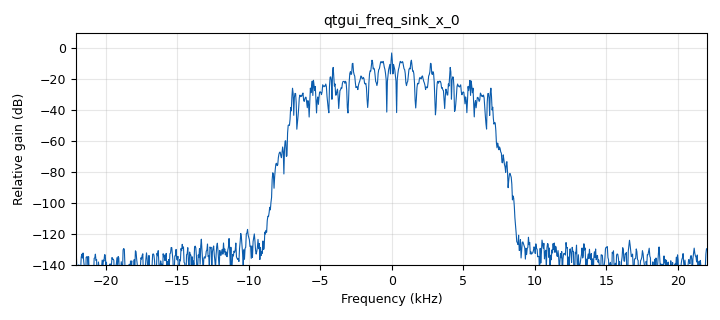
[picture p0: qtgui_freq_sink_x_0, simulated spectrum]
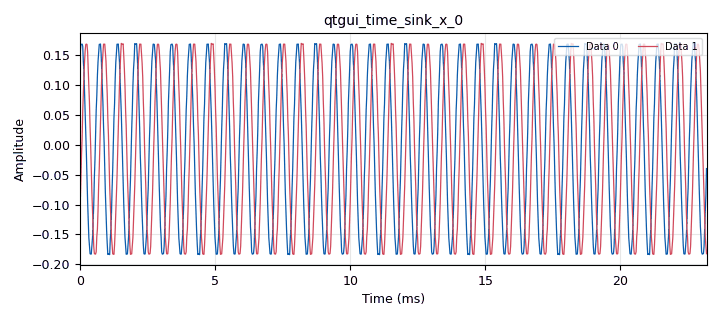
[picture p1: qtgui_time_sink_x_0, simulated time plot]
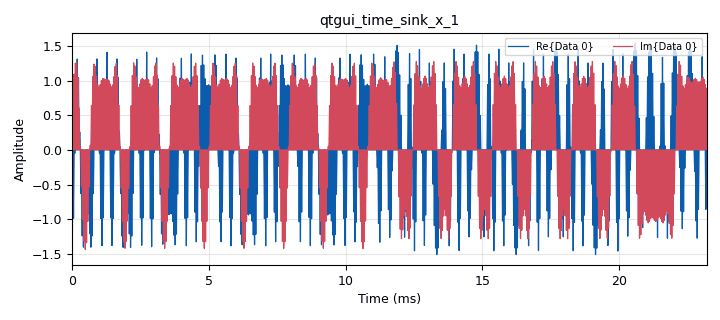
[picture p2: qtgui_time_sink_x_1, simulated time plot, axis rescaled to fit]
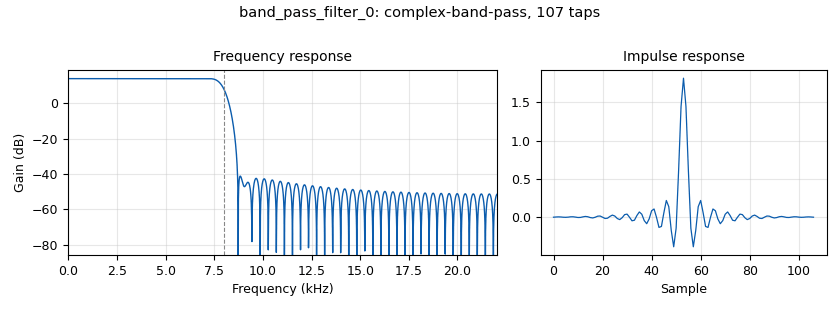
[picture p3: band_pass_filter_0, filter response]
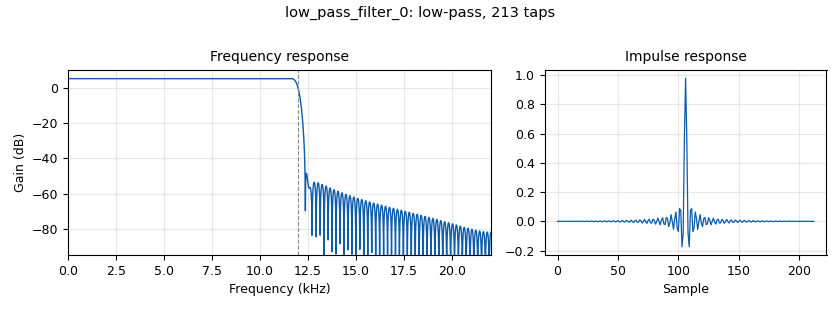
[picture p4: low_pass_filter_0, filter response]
<?xml version='1.0' encoding='utf-8'?>
<?grc format='1' created='3.7.9'?>
<flow_graph>
<block>
<key>options</key>
<param><key>id</key><value>top_block</value></param>
<param><key>category</key><value>Custom</value></param>
<param><key>generate_options</key><value>qt_gui</value></param>
</block>
<block>
<key>variable_qtgui_range</key>
<param><key>id</key><value>N0</value></param>
<param><key>value</key><value>.005</value></param>
<param><key>label</key><value>Noise Voltage</value></param>
<param><key>orient</key><value>Qt.Horizontal</value></param>
<param><key>start</key><value>0</value></param>
<param><key>step</key><value>.001</value></param>
<param><key>stop</key><value>5</value></param>
</block>
<block>
<key>variable</key>
<param><key>id</key><value>samp_rate</value></param>
<param><key>value</key><value>44100</value></param>
</block>
<block>
<key>analog_pwr_squelch_xx</key>
<param><key>id</key><value>analog_pwr_squelch_xx_0</value></param>
<param><key>alpha</key><value>1e-4</value></param>
<param><key>gate</key><value>False</value></param>
<param><key>ramp</key><value>1</value></param>
<param><key>threshold</key><value>-60</value></param>
<param><key>type</key><value>float</value></param>
</block>
<block>
<key>analog_pwr_squelch_xx</key>
<param><key>id</key><value>analog_pwr_squelch_xx_0_0</value></param>
<param><key>alpha</key><value>1e-4</value></param>
<param><key>gate</key><value>False</value></param>
<param><key>ramp</key><value>1</value></param>
<param><key>threshold</key><value>-60</value></param>
<param><key>type</key><value>float</value></param>
</block>
<block>
<key>analog_sig_source_x</key>
<param><key>id</key><value>analog_sig_source_x_0</value></param>
<param><key>amp</key><value>.1</value></param>
<param><key>freq</key><value>1500</value></param>
<param><key>offset</key><value>0</value></param>
<param><key>type</key><value>complex</value></param>
<param><key>samp_rate</key><value>samp_rate</value></param>
<param><key>waveform</key><value>analog.GR_COS_WAVE</value></param>
</block>
<block>
<key>audio_source</key>
<param><key>id</key><value>audio_source_0</value></param>
<param><key>device_name</key><value>pulse_monitor</value></param>
<param><key>_enabled</key><value>0</value></param>
<param><key>num_outputs</key><value>2</value></param>
<param><key>samp_rate</key><value>samp_rate</value></param>
</block>
<block>
<key>band_pass_filter</key>
<param><key>id</key><value>band_pass_filter_0</value></param>
<param><key>decim</key><value>1</value></param>
<param><key>type</key><value>fir_filter_ccc</value></param>
<param><key>gain</key><value>5</value></param>
<param><key>high_cutoff_freq</key><value>8000</value></param>
<param><key>low_cutoff_freq</key><value>-8000</value></param>
<param><key>samp_rate</key><value>samp_rate</value></param>
<param><key>width</key><value>1000</value></param>
<param><key>win</key><value>firdes.WIN_HAMMING</value></param>
</block>
<block>
<key>band_pass_filter</key>
<param><key>id</key><value>band_pass_filter_0_0</value></param>
<param><key>decim</key><value>1</value></param>
<param><key>type</key><value>fir_filter_ccc</value></param>
<param><key>gain</key><value>5</value></param>
<param><key>high_cutoff_freq</key><value>8000</value></param>
<param><key>low_cutoff_freq</key><value>-8000</value></param>
<param><key>samp_rate</key><value>samp_rate</value></param>
<param><key>width</key><value>1000</value></param>
<param><key>win</key><value>firdes.WIN_HAMMING</value></param>
</block>
<block>
<key>blocks_char_to_short</key>
<param><key>id</key><value>blocks_char_to_short_0</value></param>
</block>
<block>
<key>blocks_char_to_short</key>
<param><key>id</key><value>blocks_char_to_short_0_0</value></param>
</block>
<block>
<key>blocks_complex_to_float</key>
<param><key>id</key><value>blocks_complex_to_float_0</value></param>
</block>
<block>
<key>blocks_deinterleave</key>
<param><key>id</key><value>blocks_deinterleave_0</value></param>
<param><key>type</key><value>complex</value></param>
</block>
<block>
<key>blocks_float_to_short</key>
<param><key>id</key><value>blocks_float_to_short_0</value></param>
<param><key>scale</key><value>2**15 - 1</value></param>
</block>
<block>
<key>blocks_float_to_short</key>
<param><key>id</key><value>blocks_float_to_short_0_0</value></param>
<param><key>scale</key><value>2**15 - 1</value></param>
</block>
<block>
<key>blocks_interleave</key>
<param><key>id</key><value>blocks_interleave_0</value></param>
<param><key>type</key><value>complex</value></param>
</block>
<block>
<key>blocks_multiply_const_vxx</key>
<param><key>id</key><value>blocks_multiply_const_vxx_0</value></param>
<param><key>const</key><value>1j</value></param>
<param><key>type</key><value>complex</value></param>
</block>
<block>
<key>blocks_multiply_const_vxx</key>
<param><key>id</key><value>blocks_multiply_const_vxx_0_0</value></param>
<param><key>const</key><value>-1j</value></param>
<param><key>type</key><value>complex</value></param>
</block>
<block>
<key>blocks_null_sink</key>
<param><key>id</key><value>blocks_null_sink_0</value></param>
<param><key>bus_conns</key><value>[[0,],]</value></param>
<param><key>_enabled</key><value>0</value></param>
<param><key>type</key><value>float</value></param>
</block>
<block>
<key>blocks_pack_k_bits_bb</key>
<param><key>id</key><value>blocks_pack_k_bits_bb_0</value></param>
<param><key>k</key><value>8</value></param>
</block>
<block>
<key>blocks_pack_k_bits_bb</key>
<param><key>id</key><value>blocks_pack_k_bits_bb_0_0</value></param>
<param><key>k</key><value>8</value></param>
</block>
<block>
<key>blocks_short_to_char</key>
<param><key>id</key><value>blocks_short_to_char_0</value></param>
</block>
<block>
<key>blocks_short_to_char</key>
<param><key>id</key><value>blocks_short_to_char_0_0</value></param>
</block>
<block>
<key>blocks_short_to_float</key>
<param><key>id</key><value>blocks_short_to_float_0</value></param>
<param><key>scale</key><value>2**15 -1</value></param>
</block>
<block>
<key>blocks_short_to_float</key>
<param><key>id</key><value>blocks_short_to_float_0_0</value></param>
<param><key>scale</key><value>2**15 -1</value></param>
</block>
<block>
<key>blocks_wavfile_sink</key>
<param><key>id</key><value>blocks_wavfile_sink_0</value></param>
<param><key>bits_per_sample</key><value>8</value></param>
<param><key>_enabled</key><value>0</value></param>
<param><key>file</key><value>/home/sam/Documents/GNU_RADIO/graphs/audioTest.wav</value></param>
<param><key>nchan</key><value>2</value></param>
<param><key>samp_rate</key><value>samp_rate</value></param>
</block>
<block>
<key>channels_channel_model</key>
<param><key>id</key><value>channels_channel_model_0</value></param>
<param><key>epsilon</key><value>1.0</value></param>
<param><key>freq_offset</key><value>0.0</value></param>
<param><key>noise_voltage</key><value>N0</value></param>
<param><key>seed</key><value>0</value></param>
<param><key>taps</key><value>1.0 </value></param>
</block>
<block>
<key>channels_quantizer</key>
<param><key>id</key><value>channels_quantizer_0</value></param>
<param><key>bits</key><value>16</value></param>
<param><key>_enabled</key><value>0</value></param>
</block>
<block>
<key>digital_dxpsk_demod</key>
<param><key>id</key><value>digital_dxpsk_demod_0</value></param>
<param><key>excess_bw</key><value>0.35</value></param>
<param><key>freq_bw</key><value>6.28/100.0</value></param>
<param><key>mod_code</key><value>"gray"</value></param>
<param><key>log</key><value>False</value></param>
<param><key>phase_bw</key><value>6.28/100.0</value></param>
<param><key>samples_per_symbol</key><value>4</value></param>
<param><key>sync_out</key><value>False</value></param>
<param><key>timing_bw</key><value>6.28/100.0</value></param>
<param><key>type</key><value>dbpsk</value></param>
<param><key>verbose</key><value>False</value></param>
</block>
<block>
<key>digital_dxpsk_demod</key>
<param><key>id</key><value>digital_dxpsk_demod_0_0</value></param>
<param><key>excess_bw</key><value>0.35</value></param>
<param><key>freq_bw</key><value>6.28/100.0</value></param>
<param><key>mod_code</key><value>"gray"</value></param>
<param><key>log</key><value>False</value></param>
<param><key>phase_bw</key><value>6.28/100.0</value></param>
<param><key>samples_per_symbol</key><value>4</value></param>
<param><key>sync_out</key><value>False</value></param>
<param><key>timing_bw</key><value>6.28/100.0</value></param>
<param><key>type</key><value>dbpsk</value></param>
<param><key>verbose</key><value>False</value></param>
</block>
<block>
<key>digital_dxpsk_mod</key>
<param><key>id</key><value>digital_dxpsk_mod_0</value></param>
<param><key>excess_bw</key><value>0.35</value></param>
<param><key>mod_code</key><value>"gray"</value></param>
<param><key>log</key><value>False</value></param>
<param><key>samples_per_symbol</key><value>4</value></param>
<param><key>type</key><value>dbpsk</value></param>
<param><key>verbose</key><value>False</value></param>
</block>
<block>
<key>digital_dxpsk_mod</key>
<param><key>id</key><value>digital_dxpsk_mod_0_0</value></param>
<param><key>excess_bw</key><value>0.35</value></param>
<param><key>mod_code</key><value>"gray"</value></param>
<param><key>log</key><value>False</value></param>
<param><key>samples_per_symbol</key><value>4</value></param>
<param><key>type</key><value>dbpsk</value></param>
<param><key>verbose</key><value>False</value></param>
</block>
<block>
<key>low_pass_filter</key>
<param><key>id</key><value>low_pass_filter_0</value></param>
<param><key>cutoff_freq</key><value>12000</value></param>
<param><key>decim</key><value>12</value></param>
<param><key>type</key><value>fir_filter_fff</value></param>
<param><key>gain</key><value>.15*12</value></param>
<param><key>samp_rate</key><value>samp_rate</value></param>
<param><key>width</key><value>500</value></param>
<param><key>win</key><value>firdes.WIN_HAMMING</value></param>
</block>
<block>
<key>low_pass_filter</key>
<param><key>id</key><value>low_pass_filter_0_0</value></param>
<param><key>cutoff_freq</key><value>12000</value></param>
<param><key>decim</key><value>12</value></param>
<param><key>type</key><value>fir_filter_fff</value></param>
<param><key>gain</key><value>.15*12</value></param>
<param><key>samp_rate</key><value>samp_rate</value></param>
<param><key>width</key><value>500</value></param>
<param><key>win</key><value>firdes.WIN_HAMMING</value></param>
</block>
<block>
<key>qtgui_const_sink_x</key>
<param><key>id</key><value>qtgui_const_sink_x_0</value></param>
<param><key>_enabled</key><value>0</value></param>
<param><key>size</key><value>1024</value></param>
<param><key>type</key><value>complex</value></param>
</block>
<block>
<key>qtgui_freq_sink_x</key>
<param><key>id</key><value>qtgui_freq_sink_x_0</value></param>
<param><key>bw</key><value>samp_rate</value></param>
<param><key>fc</key><value>0</value></param>
<param><key>fftsize</key><value>1024</value></param>
<param><key>showports</key><value>True</value></param>
<param><key>type</key><value>complex</value></param>
<param><key>wintype</key><value>firdes.WIN_BLACKMAN_hARRIS</value></param>
</block>
<block>
<key>qtgui_time_sink_x</key>
<param><key>id</key><value>qtgui_time_sink_x_0</value></param>
<param><key>autoscale</key><value>True</value></param>
<param><key>color1</key><value>"blue"</value></param>
<param><key>label1</key><value></value></param>
<param><key>color2</key><value>"red"</value></param>
<param><key>label2</key><value></value></param>
<param><key>nconnections</key><value>2</value></param>
<param><key>size</key><value>1024</value></param>
<param><key>srate</key><value>samp_rate</value></param>
<param><key>type</key><value>float</value></param>
</block>
<block>
<key>qtgui_time_sink_x</key>
<param><key>id</key><value>qtgui_time_sink_x_1</value></param>
<param><key>color1</key><value>"blue"</value></param>
<param><key>label1</key><value></value></param>
<param><key>color2</key><value>"red"</value></param>
<param><key>label2</key><value></value></param>
<param><key>size</key><value>1024</value></param>
<param><key>srate</key><value>samp_rate</value></param>
<param><key>type</key><value>complex</value></param>
</block>
<block>
<key>rational_resampler_xxx</key>
<param><key>id</key><value>rational_resampler_xxx_0</value></param>
<param><key>decim</key><value>1</value></param>
<param><key>interp</key><value>12</value></param>
<param><key>taps</key><value></value></param>
<param><key>type</key><value>fff</value></param>
</block>
<block>
<key>rational_resampler_xxx</key>
<param><key>id</key><value>rational_resampler_xxx_0_0</value></param>
<param><key>decim</key><value>1</value></param>
<param><key>interp</key><value>12</value></param>
<param><key>taps</key><value></value></param>
<param><key>type</key><value>fff</value></param>
</block>
<connection><source_block_id>analog_pwr_squelch_xx_0</source_block_id><sink_block_id>rational_resampler_xxx_0_0</sink_block_id><source_key>0</source_key><sink_key>0</sink_key></connection>
<connection><source_block_id>analog_pwr_squelch_xx_0_0</source_block_id><sink_block_id>rational_resampler_xxx_0</sink_block_id><source_key>0</source_key><sink_key>0</sink_key></connection>
<connection><source_block_id>analog_sig_source_x_0</source_block_id><sink_block_id>blocks_complex_to_float_0</sink_block_id><source_key>0</source_key><sink_key>0</sink_key></connection>
<connection><source_block_id>audio_source_0</source_block_id><sink_block_id>analog_pwr_squelch_xx_0_0</sink_block_id><source_key>0</source_key><sink_key>0</sink_key></connection>
<connection><source_block_id>audio_source_0</source_block_id><sink_block_id>analog_pwr_squelch_xx_0</sink_block_id><source_key>1</source_key><sink_key>0</sink_key></connection>
<connection><source_block_id>band_pass_filter_0</source_block_id><sink_block_id>digital_dxpsk_demod_0</sink_block_id><source_key>0</source_key><sink_key>0</sink_key></connection>
<connection><source_block_id>band_pass_filter_0</source_block_id><sink_block_id>qtgui_freq_sink_x_0</sink_block_id><source_key>0</source_key><sink_key>0</sink_key></connection>
<connection><source_block_id>band_pass_filter_0_0</source_block_id><sink_block_id>digital_dxpsk_demod_0_0</sink_block_id><source_key>0</source_key><sink_key>0</sink_key></connection>
<connection><source_block_id>blocks_char_to_short_0</source_block_id><sink_block_id>blocks_short_to_float_0</sink_block_id><source_key>0</source_key><sink_key>0</sink_key></connection>
<connection><source_block_id>blocks_char_to_short_0_0</source_block_id><sink_block_id>blocks_short_to_float_0_0</sink_block_id><source_key>0</source_key><sink_key>0</sink_key></connection>
<connection><source_block_id>blocks_complex_to_float_0</source_block_id><sink_block_id>analog_pwr_squelch_xx_0</sink_block_id><source_key>1</source_key><sink_key>0</sink_key></connection>
<connection><source_block_id>blocks_complex_to_float_0</source_block_id><sink_block_id>analog_pwr_squelch_xx_0_0</sink_block_id><source_key>0</source_key><sink_key>0</sink_key></connection>
<connection><source_block_id>blocks_deinterleave_0</source_block_id><sink_block_id>blocks_multiply_const_vxx_0_0</sink_block_id><source_key>0</source_key><sink_key>0</sink_key></connection>
<connection><source_block_id>blocks_deinterleave_0</source_block_id><sink_block_id>band_pass_filter_0</sink_block_id><source_key>1</source_key><sink_key>0</sink_key></connection>
<connection><source_block_id>blocks_float_to_short_0</source_block_id><sink_block_id>blocks_short_to_char_0</sink_block_id><source_key>0</source_key><sink_key>0</sink_key></connection>
<connection><source_block_id>blocks_float_to_short_0_0</source_block_id><sink_block_id>blocks_short_to_char_0_0</sink_block_id><source_key>0</source_key><sink_key>0</sink_key></connection>
<connection><source_block_id>blocks_interleave_0</source_block_id><sink_block_id>channels_channel_model_0</sink_block_id><source_key>0</source_key><sink_key>0</sink_key></connection>
<connection><source_block_id>blocks_interleave_0</source_block_id><sink_block_id>qtgui_const_sink_x_0</sink_block_id><source_key>0</source_key><sink_key>0</sink_key></connection>
<connection><source_block_id>blocks_interleave_0</source_block_id><sink_block_id>qtgui_time_sink_x_1</sink_block_id><source_key>0</source_key><sink_key>0</sink_key></connection>
<connection><source_block_id>blocks_multiply_const_vxx_0</source_block_id><sink_block_id>blocks_interleave_0</sink_block_id><source_key>0</source_key><sink_key>1</sink_key></connection>
<connection><source_block_id>blocks_multiply_const_vxx_0_0</source_block_id><sink_block_id>band_pass_filter_0_0</sink_block_id><source_key>0</source_key><sink_key>0</sink_key></connection>
<connection><source_block_id>blocks_pack_k_bits_bb_0</source_block_id><sink_block_id>blocks_char_to_short_0</sink_block_id><source_key>0</source_key><sink_key>0</sink_key></connection>
<connection><source_block_id>blocks_pack_k_bits_bb_0_0</source_block_id><sink_block_id>blocks_char_to_short_0_0</sink_block_id><source_key>0</source_key><sink_key>0</sink_key></connection>
<connection><source_block_id>blocks_short_to_char_0</source_block_id><sink_block_id>digital_dxpsk_mod_0</sink_block_id><source_key>0</source_key><sink_key>0</sink_key></connection>
<connection><source_block_id>blocks_short_to_char_0_0</source_block_id><sink_block_id>digital_dxpsk_mod_0_0</sink_block_id><source_key>0</source_key><sink_key>0</sink_key></connection>
<connection><source_block_id>blocks_short_to_float_0</source_block_id><sink_block_id>low_pass_filter_0</sink_block_id><source_key>0</source_key><sink_key>0</sink_key></connection>
<connection><source_block_id>blocks_short_to_float_0_0</source_block_id><sink_block_id>low_pass_filter_0_0</sink_block_id><source_key>0</source_key><sink_key>0</sink_key></connection>
<connection><source_block_id>channels_channel_model_0</source_block_id><sink_block_id>blocks_deinterleave_0</sink_block_id><source_key>0</source_key><sink_key>0</sink_key></connection>
<connection><source_block_id>digital_dxpsk_demod_0</source_block_id><sink_block_id>blocks_pack_k_bits_bb_0</sink_block_id><source_key>0</source_key><sink_key>0</sink_key></connection>
<connection><source_block_id>digital_dxpsk_demod_0_0</source_block_id><sink_block_id>blocks_pack_k_bits_bb_0_0</sink_block_id><source_key>0</source_key><sink_key>0</sink_key></connection>
<connection><source_block_id>digital_dxpsk_mod_0</source_block_id><sink_block_id>blocks_interleave_0</sink_block_id><source_key>0</source_key><sink_key>0</sink_key></connection>
<connection><source_block_id>digital_dxpsk_mod_0_0</source_block_id><sink_block_id>blocks_multiply_const_vxx_0</sink_block_id><source_key>0</source_key><sink_key>0</sink_key></connection>
<connection><source_block_id>low_pass_filter_0</source_block_id><sink_block_id>blocks_null_sink_0</sink_block_id><source_key>0</source_key><sink_key>0</sink_key></connection>
<connection><source_block_id>low_pass_filter_0</source_block_id><sink_block_id>blocks_wavfile_sink_0</sink_block_id><source_key>0</source_key><sink_key>1</sink_key></connection>
<connection><source_block_id>low_pass_filter_0</source_block_id><sink_block_id>qtgui_time_sink_x_0</sink_block_id><source_key>0</source_key><sink_key>0</sink_key></connection>
<connection><source_block_id>low_pass_filter_0_0</source_block_id><sink_block_id>blocks_wavfile_sink_0</sink_block_id><source_key>0</source_key><sink_key>0</sink_key></connection>
<connection><source_block_id>low_pass_filter_0_0</source_block_id><sink_block_id>qtgui_time_sink_x_0</sink_block_id><source_key>0</source_key><sink_key>1</sink_key></connection>
<connection><source_block_id>rational_resampler_xxx_0</source_block_id><sink_block_id>blocks_float_to_short_0</sink_block_id><source_key>0</source_key><sink_key>0</sink_key></connection>
<connection><source_block_id>rational_resampler_xxx_0_0</source_block_id><sink_block_id>blocks_float_to_short_0_0</sink_block_id><source_key>0</source_key><sink_key>0</sink_key></connection>
</flow_graph>
